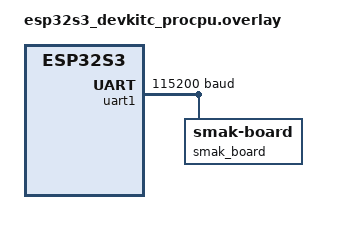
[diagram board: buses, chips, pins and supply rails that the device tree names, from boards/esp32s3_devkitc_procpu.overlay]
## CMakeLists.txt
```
# The following five lines of boilerplate have to be in your project's
# CMakeLists in this exact order for cmake to work correctly
cmake_minimum_required(VERSION 3.22)

include($ENV{IDF_PATH}/tools/cmake/project.cmake)
project(usb)


set(C_OUT_PATH "${CMAKE_CURRENT_LIST_DIR}/main/proto")

set(PROTO_SRCS "${CMAKE_CURRENT_LIST_DIR}/proto/smak.proto")


set(NANO_PB_EXE_PATH "${CMAKE_CURRENT_LIST_DIR}/nanopb/generator/nanopb_generator.py")

add_custom_target(smak_proto
    COMMAND  python ${NANO_PB_EXE_PATH} -C -D ${C_OUT_PATH} ${PROTO_SRCS}
    VERBATIM
    WORKING_DIRECTORY ${CMAKE_CURRENT_LIST_DIR}
)
```

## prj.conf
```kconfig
CONFIG_EARLY_CONSOLE=y

CONFIG_GNU_C_EXTENSIONS=y
CONFIG_STATIC_INIT_GNU=y

CONFIG_SMF=y

CONFIG_SNTP=y
CONFIG_JSON_LIBRARY=y

CONFIG_SHELL=y

CONFIG_ZTEST=y

CONFIG_SCOPE_CLEANUP_HELPERS=y
CONFIG_ASAN=y
CONFIG_UBSAN=y
```

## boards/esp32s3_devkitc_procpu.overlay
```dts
&esp32_bt_hci {
    status = "disabled";
};

&uart1 {
    status = "okay";
    pinctrl-0 = < &uart1_default >;
    pinctrl-names = "default";
    current-speed = < 0x1c200 >;

    smak_board: smak_uart {
        compatible = "smak-board";
        uart-speed = < 9600 >;
        uart-api-type = "interrupt-driven";
    };
};



/ {
    chosen {
        smak,uart = &uart1;
    };

};
```

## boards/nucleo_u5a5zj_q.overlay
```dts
&zephyr_udc0 {
	cdc_acm_uart0: cdc_acm_uart0 {
		compatible = "zephyr,cdc-acm-uart";
		label = "Zephyr USB CDC-ACM";
	};
};

/ {
	chosen {
		// zephyr,console = &cdc_acm_uart0;
		zephyr,shell-uart = &usart1;
		zephyr,console = &usart1;
	};
};
```

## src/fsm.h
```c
#ifndef SMAK_INCLUDED_FSM_H_
#define SMAK_INCLUDED_FSM_H_

#include "model.h"
#include <zephyr/sys/slist.h>
#include <zephyr/sys/util.h>
#include <zephyr/sys/util_macro.h>

/* clang-format off */

struct chess_state;

void reset_fsm(struct chess_state *st);

struct fsm_state_node {
    sys_snode_t node;
    enum states state;
};

void queue_fsm_work_fifo(struct chess_state *st, int pin, bool is_up);

const char *state_board_get(struct chess_state *st);

struct chess_state *state_get(void);

sys_slist_t *move_check_list_get(void);

/* clang-format on */

#endif // SMAK_INCLUDED_FSM_H_
```

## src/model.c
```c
#include "model.h"
#include <stddef.h>
#include <stdint.h>
#include <zephyr/data/json.h>
#include <zephyr/sys/util.h>

#define CREATE_STATE_STRING_ARRAY(name) [name] = #name

const char *state_strings[] = { FOR_EACH(
    CREATE_STATE_STRING_ARRAY, (, ), white, white_move, white_capture,
    white_enemy_capture, white_castling, white_castling_kingside_kingdown,
    white_castling_queenside_kingdown, white_castling_kingside_KINGUP_ROOKUP,
    white_castling_queenside_KINGUP_ROOKUP,
    white_castling_kingside_kingdown_ROOKUP,
    white_castling_queenside_kingdown_ROOKUP,
    white_castling_kingside_KINGUP_rookdown,
    white_castling_queenside_KINGUP_rookdown, black, black_move, black_capture,
    black_enemy_capture, black_castling, black_castling_kingside_kingdown,
    black_castling_queenside_kingdown, black_castling_kingside_KINGUP_ROOKUP,
    black_castling_queenside_KINGUP_ROOKUP,
    black_castling_kingside_kingdown_ROOKUP,
    black_castling_queenside_kingdown_ROOKUP,
    black_castling_kingside_KINGUP_rookdown,
    black_castling_queenside_KINGUP_rookdown, error) };

#undef CREATE_STATE_STRING_ARRAY

/* clang-format off */
[[gnu::unused]] const char board[64] = {
    'r','n','b','q','k','b','n','r',
    'p','p','p','p','p','p','p','p',
    ' ',' ',' ',' ',' ',' ',' ',' ',
    ' ',' ',' ',' ',' ',' ',' ',' ',
    ' ',' ',' ',' ',' ',' ',' ',' ',
    ' ',' ',' ',' ',' ',' ',' ',' ',
    'P','P','P','P','P','P','P','P',
    'R','N','B','Q','K','B','N','R',
};

const char starting_board_initializer[64] = {
    'r','n','b','q','k','b','n','r',
    'p','p','p','p','p','p','p','p',
    ' ',' ',' ',' ',' ',' ',' ',' ',
    ' ',' ',' ',' ',' ',' ',' ',' ',
    ' ',' ',' ',' ',' ',' ',' ',' ',
    ' ',' ',' ',' ',' ',' ',' ',' ',
    'P','P','P','P','P','P','P','P',
    'R','N','B','Q','K','B','N','R',
};

const char empty_board_initializer[64] = {
    ' ', ' ', ' ', ' ', ' ', ' ', ' ', ' ',
    ' ', ' ', ' ', ' ', ' ', ' ', ' ', ' ',
    ' ', ' ', ' ', ' ', ' ', ' ', ' ', ' ',
    ' ', ' ', ' ', ' ', ' ', ' ', ' ', ' ',
    ' ', ' ', ' ', ' ', ' ', ' ', ' ', ' ',
    ' ', ' ', ' ', ' ', ' ', ' ', ' ', ' ',
    ' ', ' ', ' ', ' ', ' ', ' ', ' ', ' ',
    ' ', ' ', ' ', ' ', ' ', ' ', ' ', ' ',
};

/* clang-format on */

struct smak_json_obj_internal {
    uint64_t id;
    uint32_t ply;
    uint16_t from;
    uint16_t to;
    uint8_t piece[2];
    uint8_t captured[2];
    const uint8_t *move_type;
};

static const char *move_type_strings[] = { [EN_PASSANT] = "enpassant",
                                           [CASTLING]   = "castling",
                                           [PROMOTION]  = "promotion",
                                           [NORMAL]     = "normal" };

/* clang-format off */

static const struct json_obj_descr desc_array[] = {
    JSON_OBJ_DESCR_PRIM(struct smak_json_obj_internal, id,        JSON_TOK_INT64),
    JSON_OBJ_DESCR_PRIM(struct smak_json_obj_internal, ply,       JSON_TOK_INT),
    JSON_OBJ_DESCR_PRIM(struct smak_json_obj_internal, from,      JSON_TOK_INT),
    JSON_OBJ_DESCR_PRIM(struct smak_json_obj_internal, to,        JSON_TOK_INT),
    JSON_OBJ_DESCR_PRIM(struct smak_json_obj_internal, piece,     JSON_TOK_STRING_BUF),
    JSON_OBJ_DESCR_PRIM(struct smak_json_obj_internal, move_type, JSON_TOK_STRING)
};

/* clang-format on */

void encode_smak_obj(struct smak_json_obj *obj, char *buf, size_t buf_size)
{

    struct smak_json_obj_internal obj_internal = {
        .id        = obj->id,
        .ply       = obj->ply,
        .from      = obj->from,
        .to        = obj->to,
        .piece     = { obj->piece,    '\0' },
        .captured  = { obj->captured, '\0' },
        .move_type = move_type_strings[obj->movetype],
    };

    json_obj_encode_buf(desc_array, ARRAY_SIZE(desc_array), &obj_internal, buf,
                        buf_size);
}

uint8_t pin(const char *restrict str)
{
    char file_char = *str;
    char rank_char = *(str + 1);

    uint8_t file = (file_char - 'a');
    uint8_t rank = (rank_char - '0');
    uint8_t r    = (8 - rank) << 3;

    return (r | file);
}
```

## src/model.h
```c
#ifndef SMAK_INCLUDED_MODEL_H_
#define SMAK_INCLUDED_MODEL_H_

#include <zephyr/kernel.h>

enum move_type { 
    EN_PASSANT,
    CASTLING,
    PROMOTION,
    NORMAL,
    MOVE_TYPE_MAX 
};

struct smak_json_obj {
    uint64_t id;
    uint32_t ply;
    uint16_t from;
    uint16_t to;
    uint8_t piece;
    uint8_t captured;

    enum move_type movetype;
};

enum states {
    white,
    white_move,
    white_capture,
    white_enemy_capture,

    white_castling,
    white_castling_kingside_kingdown,
    white_castling_queenside_kingdown,
    white_castling_kingside_KINGUP_ROOKUP,
    white_castling_queenside_KINGUP_ROOKUP,
    white_castling_kingside_kingdown_ROOKUP,
    white_castling_queenside_kingdown_ROOKUP,
    white_castling_kingside_KINGUP_rookdown,
    white_castling_queenside_KINGUP_rookdown,

    black,
    black_move,
    black_capture,
    black_enemy_capture,

    black_castling,
    black_castling_kingside_kingdown,
    black_castling_queenside_kingdown,
    black_castling_kingside_KINGUP_ROOKUP,
    black_castling_queenside_KINGUP_ROOKUP,
    black_castling_kingside_kingdown_ROOKUP,
    black_castling_queenside_kingdown_ROOKUP,
    black_castling_kingside_KINGUP_rookdown,
    black_castling_queenside_KINGUP_rookdown,

    error,
};

uint8_t pin(const char* restrict str);
#define SMAK_PIECES
#ifndef SMAK_PIECES
#define SMAK_PIECES
const char p_EMPTY_SQUARE = ' ';
const char p_BLACK_PAWN = 'p', p_WHITE_PAWN = 'P';
const char p_BLACK_ROOK = 'r', p_WHITE_ROOK = 'R';
[[maybe_unused]] const char p_BLACK_KNIGHT = 'n', p_WHITE_KNIGHT = 'N';
[[maybe_unused]] const char p_BLACK_BISHOP = 'b', p_WHITE_BISHOP = 'B';
const char p_BLACK_QUEEN = 'q', p_WHITE_QUEEN = 'Q';
const char p_BLACK_KING = 'k', p_WHITE_KING = 'K';

const int WHITE_KING_STARTINGSQUARE = 63 - 3;
const int BLACK_KING_STARTINGSQUARE = 0 + 4;

const int WHITE_ROOK_KINGSIDE_STARTINGSQUARE = 63 - 0;
const int WHITE_ROOK_QUEENSIDE_STARTINGSQUARE = 63 - 7;
const int BLACK_ROOK_KINGSIDE_STARTINGSQUARE = 0 + 7;
const int BLACK_ROOK_QUEENSIDE_STARTINGSQUARE = 0;

const int WHITE_KING_KINGSIDE_CASTLESQUARE = 63 - 1;
const int WHITE_KING_QUEENSIDE_CASTLESQUARE = 63 - 5;
const int BLACK_KING_KINGSIDE_CASTLESQUARE = 0 + 6;
const int BLACK_KING_QUEENSIDE_CASTLESQUARE = 0 + 2;

const int WHITE_ROOK_KINGSIDE_CASTLESQUARE = 63 - 2;
const int WHITE_ROOK_QUEENSIDE_CASTLESQUARE = 63 - 4;
const int BLACK_ROOK_KINGSIDE_CASTLESQUARE = 0 + 5;
const int BLACK_ROOK_QUEENSIDE_CASTLESQUARE = 0 + 3;

#endif

/* clang-format off */
enum smak_pieces {
    p_EMPTY_SQUARE = ' ',
    p_BLACK_PAWN = 'p', p_WHITE_PAWN = 'P',
    p_BLACK_ROOK = 'r', p_WHITE_ROOK = 'R',
    p_BLACK_KNIGHT = 'n', p_WHITE_KNIGHT = 'N',
    p_BLACK_BISHOP = 'b', p_WHITE_BISHOP = 'B',
    p_BLACK_QUEEN = 'q', p_WHITE_QUEEN = 'Q',
    p_BLACK_KING = 'k', p_WHITE_KING = 'K',

    WHITE_KING_STARTINGSQUARE = 63 - 3,
    BLACK_KING_STARTINGSQUARE = 0 + 4,

    WHITE_ROOK_KINGSIDE_STARTINGSQUARE = 63 - 0,
    WHITE_ROOK_QUEENSIDE_STARTINGSQUARE = 63 - 7,
    BLACK_ROOK_KINGSIDE_STARTINGSQUARE = 0 + 7,
    BLACK_ROOK_QUEENSIDE_STARTINGSQUARE = 0,

    WHITE_KING_KINGSIDE_CASTLESQUARE = 63 - 1,
    WHITE_KING_QUEENSIDE_CASTLESQUARE = 63 - 5,
    BLACK_KING_KINGSIDE_CASTLESQUARE = 0 + 6,
    BLACK_KING_QUEENSIDE_CASTLESQUARE = 0 + 2,

    WHITE_ROOK_KINGSIDE_CASTLESQUARE = 63 - 2,
    WHITE_ROOK_QUEENSIDE_CASTLESQUARE = 63 - 4,
    BLACK_ROOK_KINGSIDE_CASTLESQUARE = 0 + 5,
    BLACK_ROOK_QUEENSIDE_CASTLESQUARE = 0 + 3
};


extern const char *state_strings[error + 1];

extern const char board[64];

extern const char starting_board_initializer[64];

extern const char empty_board_initializer[64];



void encode_smak_obj(struct smak_json_obj* obj, char* buf, size_t buf_size);
int smak_move_to_pb(struct smak_json_obj *obj, uint8_t *buf);

/* clang-format on */
#endif
```
